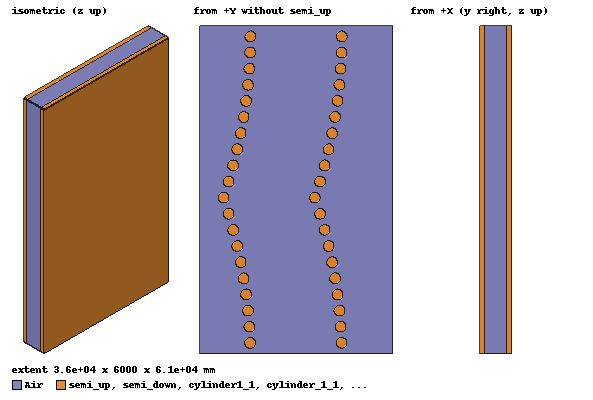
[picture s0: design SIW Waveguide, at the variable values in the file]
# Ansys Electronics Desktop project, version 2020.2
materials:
  vacuum: permittivity=1
  Rogers RO4003 (tm): permittivity=3.55 dielectric_loss_tangent=0.0027
  copper: permeability=0.999991 conductivity=58000000

design SIW Waveguide (HFSS, DrivenModal, model units mm)
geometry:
  Air [Rogers RO4003 (tm)] = box(corner=(-18m, -2m, -31m), size=(36m, 4m, 61m))
  semi_up [copper, solve inside] = box(corner=(-18m, 2m, -31m), size=(36m, 1m, 61m))
  semi_down [copper, solve inside] = box(corner=(-18m, -3m, -31m), size=(36m, 1m, 61m))
  cylinder1 = cylinder(axis=Y, base_centre=(-8.45m, -2m, -29m), radius=1m, height=4m)
  Air.subtract(cylinder1)
  cylinder_1 = cylinder(axis=Y, base_centre=(8.55m, -2m, -29m), radius=1m, height=4m)
  Air.subtract(cylinder_1)
  cylinder2 = cylinder(axis=Y, base_centre=(-8.3m, -2m, -26m), radius=1m, height=4m)
  Air.subtract(cylinder2)
  cylinder_2 = cylinder(axis=Y, base_centre=(8.7m, -2m, -26m), radius=1m, height=4m)
  Air.subtract(cylinder_2)
  cylinder3 = cylinder(axis=Y, base_centre=(-8.05m, -2m, -23m), radius=1m, height=4m)
  Air.subtract(cylinder3)
  cylinder_3 = cylinder(axis=Y, base_centre=(8.95m, -2m, -23m), radius=1m, height=4m)
  Air.subtract(cylinder_3)
  cylinder4 = cylinder(axis=Y, base_centre=(-7.7m, -2m, -20m), radius=1m, height=4m)
  Air.subtract(cylinder4)
  cylinder_4 = cylinder(axis=Y, base_centre=(9.3m, -2m, -20m), radius=1m, height=4m)
  Air.subtract(cylinder_4)
  cylinder5 = cylinder(axis=Y, base_centre=(-7.25m, -2m, -17m), radius=1m, height=4m)
  Air.subtract(cylinder5)
  cylinder_5 = cylinder(axis=Y, base_centre=(9.75m, -2m, -17m), radius=1m, height=4m)
  Air.subtract(cylinder_5)
  cylinder6 = cylinder(axis=Y, base_centre=(-6.7m, -2m, -14m), radius=1m, height=4m)
  Air.subtract(cylinder6)
  cylinder_6 = cylinder(axis=Y, base_centre=(10.3m, -2m, -14m), radius=1m, height=4m)
  Air.subtract(cylinder_6)
  cylinder7 = cylinder(axis=Y, base_centre=(-6.05m, -2m, -11m), radius=1m, height=4m)
  Air.subtract(cylinder7)
  cylinder_7 = cylinder(axis=Y, base_centre=(10.95m, -2m, -11m), radius=1m, height=4m)
  Air.subtract(cylinder_7)
  cylinder8 = cylinder(axis=Y, base_centre=(-5.3m, -2m, -8m), radius=1m, height=4m)
  Air.subtract(cylinder8)
  cylinder_8 = cylinder(axis=Y, base_centre=(11.7m, -2m, -8m), radius=1m, height=4m)
  Air.subtract(cylinder_8)
  cylinder9 = cylinder(axis=Y, base_centre=(-4.45m, -2m, -5m), radius=1m, height=4m)
  Air.subtract(cylinder9)
  cylinder_9 = cylinder(axis=Y, base_centre=(12.55m, -2m, -5m), radius=1m, height=4m)
  Air.subtract(cylinder_9)
  cylinder10 = cylinder(axis=Y, base_centre=(-3.5m, -2m, -2m), radius=1m, height=4m)
  Air.subtract(cylinder10)
  cylinder_10 = cylinder(axis=Y, base_centre=(13.5m, -2m, -2m), radius=1m, height=4m)
  Air.subtract(cylinder_10)
  cylinder11 = cylinder(axis=Y, base_centre=(-4.45m, -2m, 1m), radius=1m, height=4m)
  Air.subtract(cylinder11)
  cylinder_11 = cylinder(axis=Y, base_centre=(12.55m, -2m, 1m), radius=1m, height=4m)
  Air.subtract(cylinder_11)
  cylinder12 = cylinder(axis=Y, base_centre=(-5.3m, -2m, 4m), radius=1m, height=4m)
  Air.subtract(cylinder12)
  cylinder_12 = cylinder(axis=Y, base_centre=(11.7m, -2m, 4m), radius=1m, height=4m)
  Air.subtract(cylinder_12)
  cylinder13 = cylinder(axis=Y, base_centre=(-6.05m, -2m, 7m), radius=1m, height=4m)
  Air.subtract(cylinder13)
  cylinder_13 = cylinder(axis=Y, base_centre=(10.95m, -2m, 7m), radius=1m, height=4m)
  Air.subtract(cylinder_13)
  cylinder14 = cylinder(axis=Y, base_centre=(-6.7m, -2m, 10m), radius=1m, height=4m)
  Air.subtract(cylinder14)
  cylinder_14 = cylinder(axis=Y, base_centre=(10.3m, -2m, 10m), radius=1m, height=4m)
  Air.subtract(cylinder_14)
  cylinder15 = cylinder(axis=Y, base_centre=(-7.25m, -2m, 13m), radius=1m, height=4m)
  Air.subtract(cylinder15)
  cylinder_15 = cylinder(axis=Y, base_centre=(9.75m, -2m, 13m), radius=1m, height=4m)
  Air.subtract(cylinder_15)
  cylinder16 = cylinder(axis=Y, base_centre=(-7.7m, -2m, 16m), radius=1m, height=4m)
  Air.subtract(cylinder16)
  cylinder_16 = cylinder(axis=Y, base_centre=(9.3m, -2m, 16m), radius=1m, height=4m)
  Air.subtract(cylinder_16)
  cylinder17 = cylinder(axis=Y, base_centre=(-8.05m, -2m, 19m), radius=1m, height=4m)
  Air.subtract(cylinder17)
  cylinder_17 = cylinder(axis=Y, base_centre=(8.95m, -2m, 19m), radius=1m, height=4m)
  Air.subtract(cylinder_17)
  cylinder18 = cylinder(axis=Y, base_centre=(-8.3m, -2m, 22m), radius=1m, height=4m)
  Air.subtract(cylinder18)
  cylinder_18 = cylinder(axis=Y, base_centre=(8.7m, -2m, 22m), radius=1m, height=4m)
  Air.subtract(cylinder_18)
  cylinder19 = cylinder(axis=Y, base_centre=(-8.45m, -2m, 25m), radius=1m, height=4m)
  Air.subtract(cylinder19)
  cylinder_19 = cylinder(axis=Y, base_centre=(8.55m, -2m, 25m), radius=1m, height=4m)
  Air.subtract(cylinder_19)
  cylinder20 = cylinder(axis=Y, base_centre=(-8.5m, -2m, 28m), radius=1m, height=4m)
  Air.subtract(cylinder20)
  cylinder_20 = cylinder(axis=Y, base_centre=(8.5m, -2m, 28m), radius=1m, height=4m)
  Air.subtract(cylinder_20)
  cylinder1_1 [copper, solve inside] = cylinder(axis=Y, base_centre=(-8.45m, -2m, -29m), radius=1m, height=4m)
  cylinder_1_1 [copper, solve inside] = cylinder(axis=Y, base_centre=(8.55m, -2m, -29m), radius=1m, height=4m)
  cylinder2_1 [copper, solve inside] = cylinder(axis=Y, base_centre=(-8.3m, -2m, -26m), radius=1m, height=4m)
  cylinder_2_1 [copper, solve inside] = cylinder(axis=Y, base_centre=(8.7m, -2m, -26m), radius=1m, height=4m)
  cylinder3_1 [copper, solve inside] = cylinder(axis=Y, base_centre=(-8.05m, -2m, -23m), radius=1m, height=4m)
  cylinder_3_1 [copper, solve inside] = cylinder(axis=Y, base_centre=(8.95m, -2m, -23m), radius=1m, height=4m)
  cylinder4_1 [copper, solve inside] = cylinder(axis=Y, base_centre=(-7.7m, -2m, -20m), radius=1m, height=4m)
  cylinder_4_1 [copper, solve inside] = cylinder(axis=Y, base_centre=(9.3m, -2m, -20m), radius=1m, height=4m)
  cylinder5_1 [copper, solve inside] = cylinder(axis=Y, base_centre=(-7.25m, -2m, -17m), radius=1m, height=4m)
  cylinder_5_1 [copper, solve inside] = cylinder(axis=Y, base_centre=(9.75m, -2m, -17m), radius=1m, height=4m)
  cylinder6_1 [copper, solve inside] = cylinder(axis=Y, base_centre=(-6.7m, -2m, -14m), radius=1m, height=4m)
  cylinder_6_1 [copper, solve inside] = cylinder(axis=Y, base_centre=(10.3m, -2m, -14m), radius=1m, height=4m)
  cylinder7_1 [copper, solve inside] = cylinder(axis=Y, base_centre=(-6.05m, -2m, -11m), radius=1m, height=4m)
  cylinder_7_1 [copper, solve inside] = cylinder(axis=Y, base_centre=(10.95m, -2m, -11m), radius=1m, height=4m)
  cylinder8_1 [copper, solve inside] = cylinder(axis=Y, base_centre=(-5.3m, -2m, -8m), radius=1m, height=4m)
  cylinder_8_1 [copper, solve inside] = cylinder(axis=Y, base_centre=(11.7m, -2m, -8m), radius=1m, height=4m)
  cylinder9_1 [copper, solve inside] = cylinder(axis=Y, base_centre=(-4.45m, -2m, -5m), radius=1m, height=4m)
  cylinder_9_1 [copper, solve inside] = cylinder(axis=Y, base_centre=(12.55m, -2m, -5m), radius=1m, height=4m)
  cylinder10_1 [copper, solve inside] = cylinder(axis=Y, base_centre=(-3.5m, -2m, -2m), radius=1m, height=4m)
  cylinder_10_1 [copper, solve inside] = cylinder(axis=Y, base_centre=(13.5m, -2m, -2m), radius=1m, height=4m)
  cylinder11_1 [copper, solve inside] = cylinder(axis=Y, base_centre=(-4.45m, -2m, 1m), radius=1m, height=4m)
  cylinder_11_1 [copper, solve inside] = cylinder(axis=Y, base_centre=(12.55m, -2m, 1m), radius=1m, height=4m)
  cylinder12_1 [copper, solve inside] = cylinder(axis=Y, base_centre=(-5.3m, -2m, 4m), radius=1m, height=4m)
  cylinder_12_1 [copper, solve inside] = cylinder(axis=Y, base_centre=(11.7m, -2m, 4m), radius=1m, height=4m)
  cylinder13_1 [copper, solve inside] = cylinder(axis=Y, base_centre=(-6.05m, -2m, 7m), radius=1m, height=4m)
  cylinder_13_1 [copper, solve inside] = cylinder(axis=Y, base_centre=(10.95m, -2m, 7m), radius=1m, height=4m)
  cylinder14_1 [copper, solve inside] = cylinder(axis=Y, base_centre=(-6.7m, -2m, 10m), radius=1m, height=4m)
  cylinder_14_1 [copper, solve inside] = cylinder(axis=Y, base_centre=(10.3m, -2m, 10m), radius=1m, height=4m)
  cylinder15_1 [copper, solve inside] = cylinder(axis=Y, base_centre=(-7.25m, -2m, 13m), radius=1m, height=4m)
  cylinder_15_1 [copper, solve inside] = cylinder(axis=Y, base_centre=(9.75m, -2m, 13m), radius=1m, height=4m)
  cylinder16_1 [copper, solve inside] = cylinder(axis=Y, base_centre=(-7.7m, -2m, 16m), radius=1m, height=4m)
  cylinder_16_1 [copper, solve inside] = cylinder(axis=Y, base_centre=(9.3m, -2m, 16m), radius=1m, height=4m)
  cylinder17_1 [copper, solve inside] = cylinder(axis=Y, base_centre=(-8.05m, -2m, 19m), radius=1m, height=4m)
  cylinder_17_1 [copper, solve inside] = cylinder(axis=Y, base_centre=(8.95m, -2m, 19m), radius=1m, height=4m)
  cylinder18_1 [copper, solve inside] = cylinder(axis=Y, base_centre=(-8.3m, -2m, 22m), radius=1m, height=4m)
  cylinder_18_1 [copper, solve inside] = cylinder(axis=Y, base_centre=(8.7m, -2m, 22m), radius=1m, height=4m)
  cylinder19_1 [copper, solve inside] = cylinder(axis=Y, base_centre=(-8.45m, -2m, 25m), radius=1m, height=4m)
  cylinder_19_1 [copper, solve inside] = cylinder(axis=Y, base_centre=(8.55m, -2m, 25m), radius=1m, height=4m)
  cylinder20_1 [copper, solve inside] = cylinder(axis=Y, base_centre=(-8.5m, -2m, 28m), radius=1m, height=4m)
  cylinder_20_1 [copper, solve inside] = cylinder(axis=Y, base_centre=(8.5m, -2m, 28m), radius=1m, height=4m)
